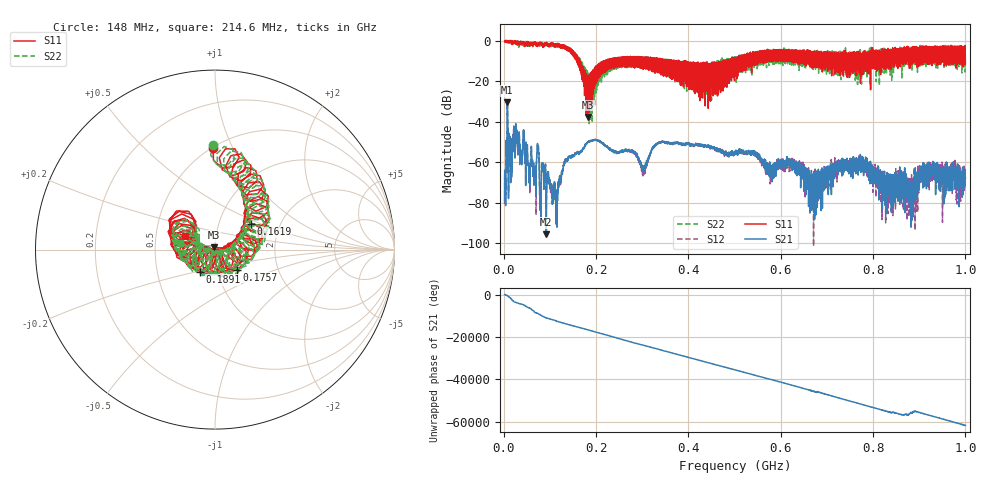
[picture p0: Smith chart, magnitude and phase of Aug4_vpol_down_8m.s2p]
!Keysight Technologies N9923A: A.12.45
!Date: Tuesday, 05 August 2025 20:27:42
!Timezone: (UTC+08:00) Kuala Lumpur, Singapore
!Model: N9923A
!Serial: MY61181427
!GPS Latitude:
!GPS Longitude:
!GPS TimeStamp: 0001-01-01 00:00:00Z
!GPS Seconds Since Last Read: 0
!CHECKSUM:0034068757
!Correction: S11(ON U)S21(ON U)S12(ON U)S22(ON U)
!S2P File: Measurements:S11,S21,S12,S22:
# Hz S DB R 50
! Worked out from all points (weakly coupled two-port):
!   4001 points, 2 MHz to 1 GHz, reference 50 ohm
!   highest |S21| = -30.38 dB at 7.988 MHz (marker M1); lowest = -95.4 dB at 92.32 MHz (marker M2)
!   lowest |S11| = -37.6 dB at 181.6 MHz (marker M3), VSWR 1.03, Z = 49.6 + j1.24 ohm
!   |S11| at or under -10 dB: 166 MHz to 215.6 MHz (49.53 MHz wide, 26 % of centre); 380.3 MHz to 391.9 MHz (11.58 MHz wide, 3 % of centre); 393.7 MHz to 475.5 MHz (81.8 MHz wide, 18.8 % of centre)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
!   |S22| runs from -40.9 to 0.1 dB; largest |S21 - S12| = 0.00091
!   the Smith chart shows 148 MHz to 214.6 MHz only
!   S11 on the Smith chart (normalised r, x): 148 MHz: 0.51, +0.84; 161.9 MHz: 1.42, +0.43; 175.7 MHz: 1.24, -0.28; 189.1 MHz: 0.82, -0.21; 214.6 MHz: 0.71, +0.11
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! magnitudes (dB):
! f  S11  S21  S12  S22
! 2 MHz  -0.1  -78.8  -80.6  -0.1
! 7.988 MHz  -0.4  -30.4  -30.4  -0.7
! 24.95 MHz  -0.1  -56.6  -56.3  -0.7
! 92.32 MHz  -0.7  -95.4  -83.2  -1.1
! 113 MHz  -2.6  -85.9  -86.5  -2.4
! 148 MHz  -5.0  -57.1  -56.9  -4.7
! 161.9 MHz  -12.2  -55.2  -55.2  -11.4
! 168.4 MHz  -16.9  -54.7  -54.4  -14.3
! 175.7 MHz  -15.7  -52.1  -52.1  -15.7
! 181.6 MHz  -37.6  -50.1  -50.1  -22.0
! 189.1 MHz  -16.5  -49.6  -49.5  -16.4
! 214.6 MHz  -14.7  -50.6  -50.6  -14.0
! 302.9 MHz  -8.4  -61.7  -64.4  -8.9
! 334.8 MHz  -8.9  -50.3  -50.4  -10.4
! 501 MHz  -8.5  -54.8  -55.0  -9.1
! 623.3 MHz  -5.5  -59.0  -58.5  -12.0
! 667.4 MHz  -5.4  -68.2  -66.0  -7.4
! 773 MHz  -12.8  -63.5  -59.3  -9.5
! 833.8 MHz  -6.2  -69.9  -71.7  -13.5
! 883.2 MHz  -4.9  -72.2  -74.3  -4.8
! 914.9 MHz  -2.6  -61.9  -63.3  -11.0
! 1 GHz  -11.6  -67.8  -68.4  -4.0
